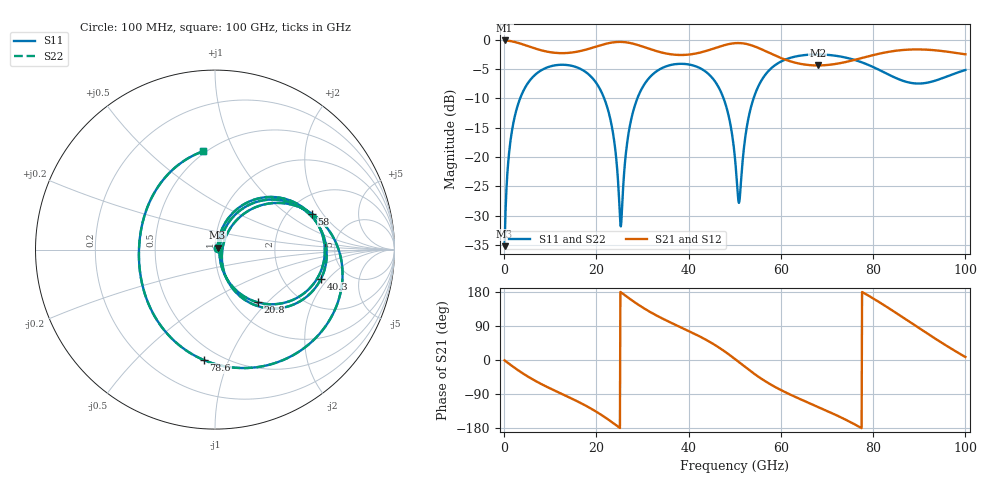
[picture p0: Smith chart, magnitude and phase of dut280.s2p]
! Touchstone file exported from HFSS 2026.1.0
!  File:  C:/ffzhzh/LocalFiles/Ansys_Project_Files/temp_train_TSV_RDL_280_1783678311_29156.aedt
!  Generated:  06:21:17 PM Jul 10, 2026
!  Design:  TSV_RDL
!  Project:  temp_train_TSV_RDL_280_1783678311_29156
! Variables:
!  h_bsmrdl = 4.67um
!  h_ox = 20um
!  h_rdl = 5um
!  h_sub = 61.92um
!  h_tmrdl = 3.46um
!  h_tsv = 61.92um
!  h_via = 3um
!  l_bsmrdl = 413.96um
!  l_sub = 2485.34um
!  l_tmrdl = 185.38um
!  m_sub = 200um
!  pitch = 48.81um
!  r_tsv = 6.64um
!  s_tmrdl = 10um
!  w_bsmrdl = 11.02um
!  w_sub = 500um
!  w_tmrdl = 22.96um
!  x_tsv_center1 = 196.86um
!  x_tsv_center2 = 621.84um
!  x_tsv_center3 = 830.18um
!  x_tsv_center4 = 1255.16um
!  x_tsv_center5 = 1463.5um
!  x_tsv_center6 = 1888.48um
# GHz S MA R 50.000000
! Terminal data exported
! Port[1] = TM_RDL1_1_T1
! Port[2] = TM_RDL5_1_T1
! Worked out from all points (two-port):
!   1000 points, 100 MHz to 100 GHz, reference 50 ohm
!   highest |S21| = -0.12 dB at 100 MHz (marker M1); lowest = -4.4 dB at 68 GHz (marker M2)
!   |S21| within 3 dB of the highest: start of sweep to 60.02 GHz; 77.52 GHz to end of sweep
!   lowest |S11| = -35.2 dB at 100 MHz (marker M3), VSWR 1.04, Z = 51.4 + j1.06 ohm
!   |S11| at or under -10 dB: start of sweep to 3.463 GHz; 21.69 GHz to 28.88 GHz (7.187 GHz wide, 28.4 % of centre); 47.57 GHz to 54.07 GHz (6.502 GHz wide, 12.8 % of centre)
!   |S22| runs from -35.2 to -2.5 dB; largest |S21 - S12| = 2.6e-14
!   S11 on the Smith chart (normalised r, x): 100 MHz: 1.03, +0.02; 20.8 GHz: 1.28, -0.88; 40.3 GHz: 3.23, -1.67; 58 GHz: 2.65, +1.59; 78.6 GHz: 0.41, -0.82; 100 GHz: 0.49, +0.77
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0.1  0.01736 36.5  0.9862 -1.0  0.9862 -1.0  0.01736 36.5
! Gamma 0 0 0 0
! Port Impedance 50 0 50 0
1.5  0.1493 69.8  0.9722 -13.8  0.9722 -13.8  0.1493 69.8
4.2  0.3686 50.3  0.909 -36.5  0.909 -36.5  0.3686 50.3
10.6  0.6006 9.6  0.777 -78.7  0.777 -78.7  0.6006 9.6
16.8  0.5575 -25.1  0.8061 -114.8  0.8061 -114.8  0.5575 -25.1
20.8  0.378 -51.0  0.895 -142.7  0.895 -142.7  0.378 -51.0
23.4  0.1778 -67.7  0.947 -164.3  0.947 -164.3  0.1777 -67.8
25.3  0.02561 -0.3  0.9586 178.7  0.9586 178.7  0.0254 -0.3
28  0.2476 58.2  0.9246 154.9  0.9246 154.9  0.2475 58.3
33.4  0.5501 22.8  0.7924 115.1  0.7924 115.1  0.5501 22.8
40.3  0.6126 -15.3  0.7495 74.8  0.7495 74.8  0.6126 -15.3
46.9  0.3659 -55.7  0.8789 30.3  0.8789 30.3  0.3659 -55.7
50.1  0.09239 -63.5  0.9354 2.0  0.9354 2.0  0.09235 -63.5
51  0.04175 5.7  0.9369 -6.6  0.9369 -6.6  0.04176 5.8
53.5  0.2649 50.6  0.8995 -30.0  0.8995 -30.0  0.265 50.6
58  0.5756 20.4  0.7556 -66.1  0.7556 -66.1  0.5757 20.4
66.7  0.748 -27.3  0.6058 -116.6  0.6058 -116.6  0.748 -27.3
68  0.7496 -33.9  0.6036 -123.5  0.6036 -123.5  0.7495 -33.9
78.6  0.6184 -95.8  0.7162 172.6  0.7162 172.6  0.6184 -95.9
83.4  0.5035 -131.3  0.7892 136.7  0.7892 136.7  0.5034 -131.4
90.7  0.4246 168.5  0.8258 78.2  0.8258 78.2  0.4247 168.4
100  0.5521 96.7  0.7514 7.9  0.7514 7.9  0.5522 96.7
